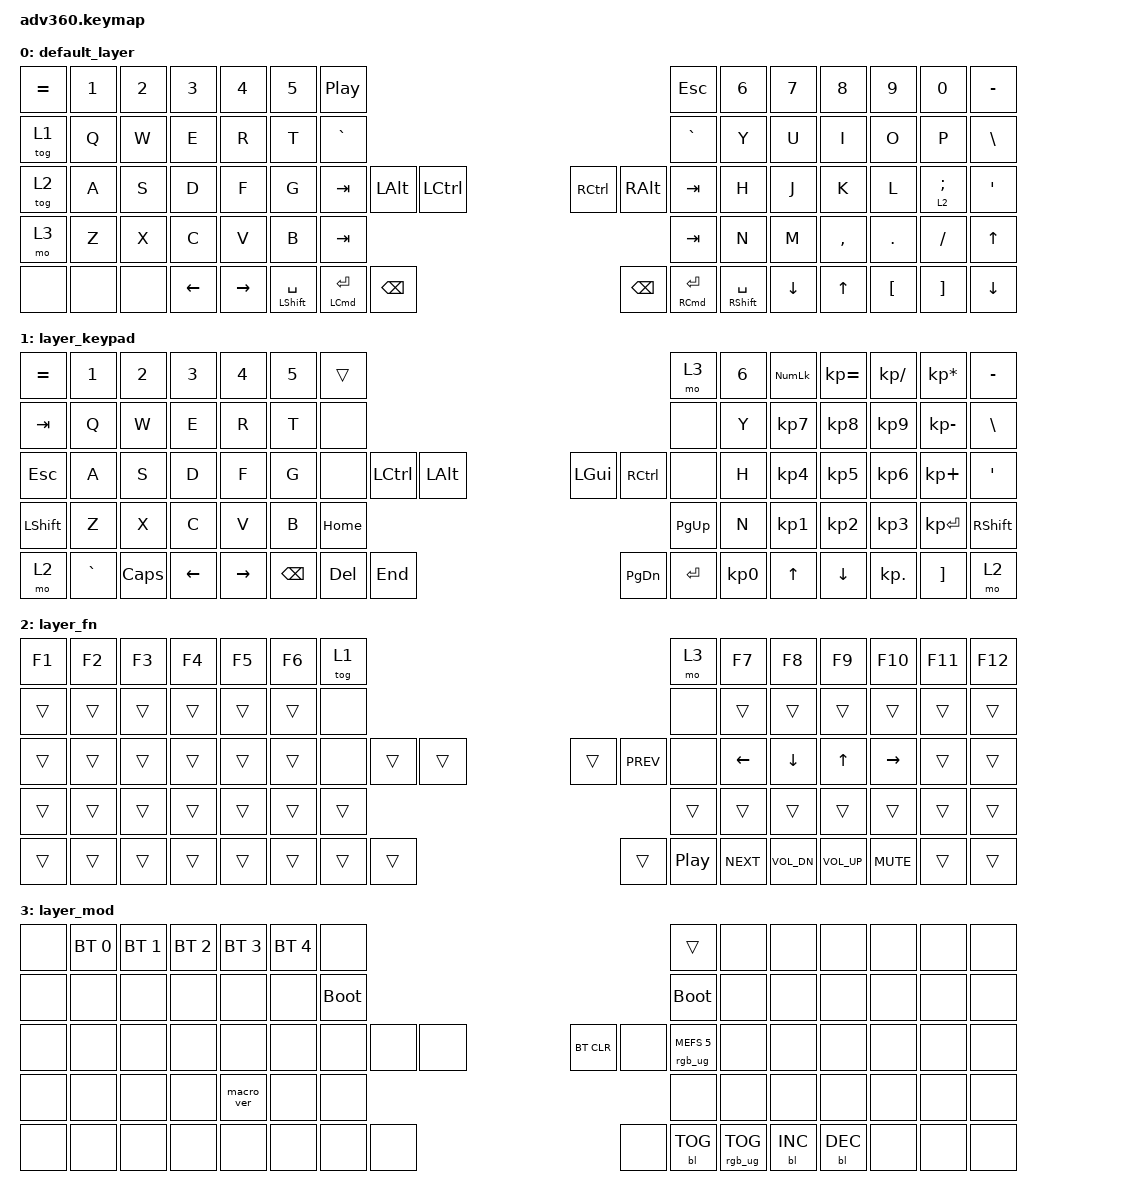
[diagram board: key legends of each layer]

/*
 * Copyright (c) 2020 The ZMK Contributors
 *
 * SPDX-License-Identifier: MIT
 */


/* THIS FILE WAS GENERATED!
 *
 * This file was generated automatically. You may or may not want to
 * edit it directly.
 */

#include <behaviors.dtsi>
#include <dt-bindings/zmk/keys.h>
#include <dt-bindings/zmk/bt.h>
#include <dt-bindings/zmk/rgb.h>
#include <dt-bindings/zmk/backlight.h>

/ {
  behaviors {
    #include "macros.dtsi"
    #include "version.dtsi"

    hm: homerow_mods {
        compatible = "zmk,behavior-hold-tap";
        label = "HOMEROW_MODS";
        #binding-cells = <2>;
        tapping-term-ms = <200>;
        quick_tap_ms = <175>;
        flavor = "tap-preferred";
        bindings = <&kp>, <&kp>;
    };
  };

    keymap {
        compatible = "zmk,keymap";


        default_layer {
            bindings = <
 &kp EQUAL  &kp N1  &kp N2    &kp N3     &kp N4  &kp N5                &kp C_PLAY_PAUSE                                                                                                            &kp ESCAPE  &kp N6    &kp N7     &kp N8    &kp N9           &kp N0  &kp MINUS
    &tog 1   &kp Q   &kp W     &kp E      &kp R   &kp T                       &kp GRAVE                                                                                                             &kp GRAVE   &kp Y     &kp U      &kp I     &kp O            &kp P   &kp BSLH
    &tog 2   &kp A   &kp S     &kp D      &kp F   &kp G                         &kp TAB                &kp LALT      &kp LCTRL                      &kp RCTRL                 &kp RALT                &kp TAB   &kp H     &kp J      &kp K     &kp L  &lt 2 SEMICOLON    &kp SQT
     &mo 3   &kp Z   &kp X     &kp C      &kp V   &kp B                                                                &kp TAB                        &kp TAB                                                   &kp N     &kp M  &kp COMMA   &kp DOT         &kp FSLH     &kp UP
     &none   &none   &none  &kp LEFT  &kp RIGHT                    &mt LEFT_SHIFT SPACE  &mt LEFT_COMMAND ENTER  &kp BACKSPACE                  &kp BACKSPACE  &mt RIGHT_COMMAND ENTER  &mt RIGHT_SHIFT SPACE          &kp DOWN     &kp UP  &kp LBKT         &kp RBKT   &kp DOWN
            >;
        };

        layer_keypad {
            bindings = <
 &kp EQUAL     &kp N1    &kp N2    &kp N3     &kp N4  &kp N5              &trans                                                                 &mo 3  &kp N6  &kp KP_NUM  &kp KP_EQUAL  &kp KP_DIVIDE  &kp KP_MULTIPLY  &kp MINUS
   &kp TAB      &kp Q     &kp W     &kp E      &kp R   &kp T               &none                                                                 &none   &kp Y   &kp KP_N7     &kp KP_N8      &kp KP_N9     &kp KP_MINUS   &kp BSLH
   &kp ESC      &kp A     &kp S     &kp D      &kp F   &kp G               &none  &kp LCTRL  &kp LALT                   &kp LGUI  &kp RCTRL      &none   &kp H   &kp KP_N4     &kp KP_N5      &kp KP_N6      &kp KP_PLUS    &kp SQT
 &kp LSHFT      &kp Z     &kp X     &kp C      &kp V   &kp B                                 &kp HOME                  &kp PG_UP                         &kp N   &kp KP_N1     &kp KP_N2      &kp KP_N3     &kp KP_ENTER  &kp RSHFT
     &mo 2  &kp GRAVE  &kp CAPS  &kp LEFT  &kp RIGHT                    &kp BSPC    &kp DEL   &kp END                  &kp PG_DN  &kp ENTER  &kp KP_N0              &kp UP      &kp DOWN     &kp KP_DOT         &kp RBKT      &mo 2
            >;
        };

        layer_fn {
            bindings = <
 &kp F1  &kp F2  &kp F3  &kp F4  &kp F5  &kp F6            &tog 1                                                                 &mo 3    &kp F7        &kp F8        &kp F9     &kp F10  &kp F11  &kp F12
 &trans  &trans  &trans  &trans  &trans  &trans             &none                                                                 &none    &trans        &trans        &trans      &trans   &trans   &trans
 &trans  &trans  &trans  &trans  &trans  &trans             &none  &trans  &trans                  &trans        &kp C_PREV       &none  &kp LEFT      &kp DOWN        &kp UP   &kp RIGHT   &trans   &trans
 &trans  &trans  &trans  &trans  &trans  &trans                            &trans                  &trans                                  &trans        &trans        &trans      &trans   &trans   &trans
 &trans  &trans  &trans  &trans  &trans                    &trans  &trans  &trans                  &trans  &kp C_PLAY_PAUSE  &kp C_NEXT            &kp C_VOL_DN  &kp C_VOL_UP  &kp C_MUTE   &trans   &trans
            >;
        };

        layer_mod {
            bindings = <
  &none  &bt BT_SEL 0  &bt BT_SEL 1  &bt BT_SEL 2  &bt BT_SEL 3  &bt BT_SEL 4                  &none                                                                          &trans   &none       &none       &none   &none   &none   &none
  &none         &none         &none         &none         &none         &none            &bootloader                                                                     &bootloader   &none       &none       &none   &none   &none   &none
  &none         &none         &none         &none         &none         &none                  &none   &none   &none                  &bt BT_CLR       &none  &rgb_ug RGB_MEFS_CMD 5   &none       &none       &none   &none   &none   &none
  &none         &none         &none         &none    &macro_ver         &none                                  &none                       &none                                       &none       &none       &none   &none   &none   &none
  &none         &none         &none         &none         &none                                &none   &none   &none                       &none  &bl BL_TOG         &rgb_ug RGB_TOG          &bl BL_INC  &bl BL_DEC   &none   &none   &none
            >;
        };

    };
};
